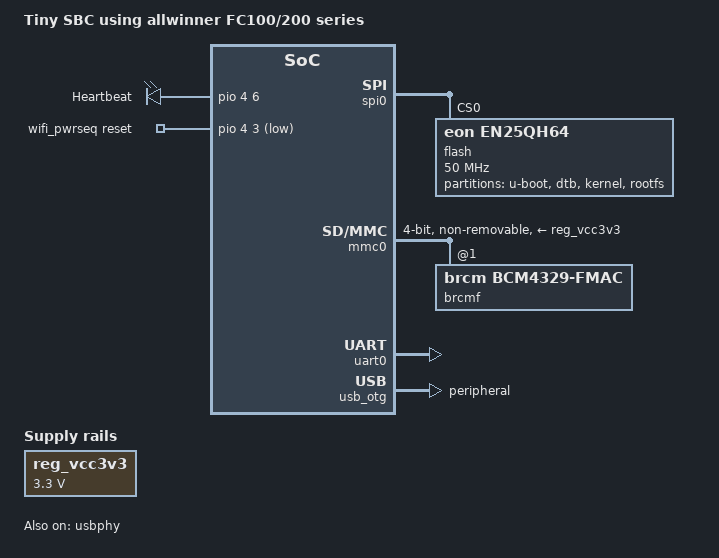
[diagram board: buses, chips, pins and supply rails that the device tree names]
// SPDX-License-Identifier: (GPL-2.0+ OR X11)
/*
 * Copyright 2019 George Hilliard <thirtythreeforty@gmail.com>
 */

/dts-v1/;
#include "suniv-f1c100s-uboot.dtsi"

#include <dt-bindings/gpio/gpio.h>
#include <dt-bindings/interrupt-controller/arm-gic.h>

/ {
	model = "Tiny SBC using allwinner FC100/200 series";
	compatible = "licheepi,licheepi-nano", "allwinner,suniv-f1c100s",
		     "allwinner,suniv";

	aliases {
		serial0 = &uart0;
		spi0 = &spi0;
		ethernet0 = &brcmf;
	};

	chosen {
		stdout-path = "serial0:115200n8";
	};

	reg_vcc3v3: vcc3v3 {
		compatible = "regulator-fixed";
		regulator-name = "vcc3v3";
		regulator-min-microvolt = <3300000>;
		regulator-max-microvolt = <3300000>;
	};

	leds {
		compatible = "gpio-leds";
		// pinctrl-names = "default";
		// pinctrl-0 = <&led_pins>;

		heartbeat {
			label = "Heartbeat";
			gpios = <&pio 4 6 GPIO_ACTIVE_HIGH>;	// PE6
			default-state = "on";
			linux,default-trigger = "heartbeat";
		};
	};

	wifi_pwrseq: wifi_pwrseq {
		compatible = "mmc-pwrseq-simple";
		reset-gpios = <&pio 4 3 GPIO_ACTIVE_LOW>; /* PE3 */
		post-power-on-delay-ms = <200>;
	};
};

&pio {
	led_pins: led_pins {
		pins = "PE6";
		function = "gpio_out";
	};
};

&spi0 {
    pinctrl-names = "default";
    pinctrl-0 = <&spi0_pins_a>;
    status = "okay";


	flash: en25qh64@0 {
        #address-cells = <1>;
        #size-cells = <1>;
        compatible ="eon,en25qh64", "jedec,spi-nor";
        reg = <0>;
        spi-max-frequency = <50000000>;
        partitions {
			compatible = "fixed-partitions";
			#address-cells = <1>;
			#size-cells = <1>;

			partition@0 {
				label = "u-boot";
				reg = <0x000000 0x100000>;
				read-only;
			};

			partition@100000 {
				label = "dtb";
				reg = <0x100000 0x10000>;
				read-only;
			};

			partition@110000 {
				label = "kernel";
				reg = <0x110000 0x360000>;
				read-only;
			};

			partition@510000 {
				label = "rootfs";
				reg = <0x470000 0x390000>;
			};
		};
    };
};

&mmc0 {
	vmmc-supply = <&reg_vcc3v3>;
	vqmmc-supply = <&reg_vcc3v3>;
	mmc-pwrseq = <&wifi_pwrseq>;
	bus-width = <4>;
	non-removable;
	//broken-cd;
	status = "okay";

	brcmf: wifi@1 {
		reg = <1>;
		compatible = "brcm,bcm4329-fmac";
		// interrupt-parent = <&pio>;
		// interrupts = <4 5 IRQ_TYPE_LEVEL_LOW>; // PE5
		// interrupt-names = "host-wake";
	};
};

&otg_sram {
	status = "okay";
};

&uart0 {
	pinctrl-names = "default";
	pinctrl-0 = <&uart0_pins_a>;
	status = "okay";
};

&usb_otg {
	dr_mode = "peripheral";
	status = "okay";
};

&usbphy {
	usb0_id_det = <&pio 4 2 GPIO_ACTIVE_HIGH>; /* PE2 */
	status = "okay";
};
